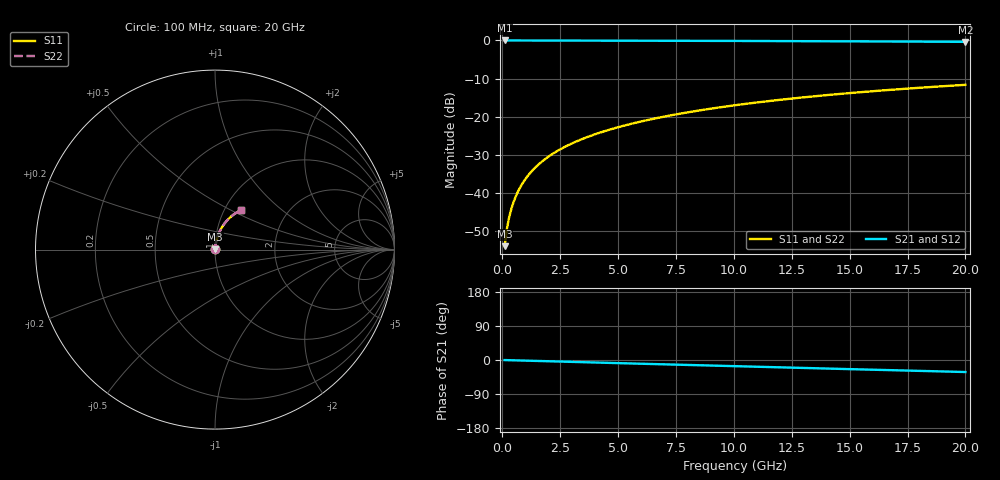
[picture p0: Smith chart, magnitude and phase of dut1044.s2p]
! Touchstone file exported from HFSS 2026.1.0
!  File:  C:/ffzhzh/LocalFiles/Ansys_Project_Files/temp_train_TMRDL_1044_1783160268_43440.aedt
!  Generated:  06:19:08 PM Jul  4, 2026
!  Design:  TMRDL
!  Project:  temp_train_TMRDL_1044_1783160268_43440
! Variables:
!  h_bsmrdl = 2um
!  h_ox = 20um
!  h_rdl = 5um
!  h_sub = 80um
!  h_tmrdl = 5.89um
!  h_tsv = 80um
!  h_via = 3um
!  l_bsmrdl = 300um
!  l_sub = 865.84um
!  l_tmrdl = 465.84um
!  m_sub = 200um
!  pitch = 56.6um
!  r_tsv = 6um
!  s_tmrdl = 10um
!  w_bsmrdl = 18um
!  w_sub = 500um
!  w_tmrdl = 29.58um
!  x_tsv_center1 = 480.63um
!  x_tsv_center2 = 798.63um
!  x_tsv_center3 = 1294.05um
!  x_tsv_center4 = 1612.05um
!  x_tsv_center5 = 2107.47um
!  x_tsv_center6 = 2425.47um
# GHz S MA R 50.000000
! Terminal data exported
! Port[1] = TM_RDL1_1_T1
! Port[2] = TM_RDL1_1_T2
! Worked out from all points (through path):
!   200 points, 100 MHz to 20 GHz, reference 50 ohm
!   highest |S21| = -0.01 dB at 100 MHz (marker M1); lowest = -0.4 dB at 20 GHz (marker M2)
!   group delay of S21, straight-line fit = 4.4 ps
!   lowest |S11| = -53.9 dB at 100 MHz (marker M3), VSWR 1.00, Z = 50.1 + j0.165 ohm
!   |S11| at or under -10 dB: start of sweep to end of sweep
!   |S22| runs from -53.9 to -11.6 dB; largest |S21 - S12| = 2.1e-15
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0.1  0.002008 55.2  0.9989 -0.2  0.9989 -0.2  0.002008 55.2
! Gamma 0 0 0 0
! Port Impedance 50 0 50 0
0.2  0.003419 68.3  0.9987 -0.3  0.9987 -0.3  0.003419 68.3
0.3  0.004859 73.9  0.9987 -0.5  0.9987 -0.5  0.004859 73.9
0.4  0.006321 77.0  0.9986 -0.7  0.9986 -0.7  0.006321 77.0
0.5  0.007797 78.9  0.9986 -0.8  0.9986 -0.8  0.007797 78.9
0.7  0.01077 81.1  0.9985 -1.2  0.9985 -1.2  0.01077 81.1
0.8  0.01227 81.7  0.9984 -1.3  0.9984 -1.3  0.01227 81.7
1  0.01525 82.4  0.9983 -1.7  0.9983 -1.7  0.01525 82.4
1.2  0.01824 82.8  0.9982 -2.0  0.9982 -2.0  0.01824 82.8
1.4  0.02121 82.9  0.998 -2.4  0.998 -2.4  0.02121 82.9
1.7  0.02565 82.9  0.9978 -2.9  0.9978 -2.9  0.02565 82.9
2  0.03006 82.7  0.9975 -3.3  0.9975 -3.3  0.03006 82.7
2.7  0.04023 81.9  0.9967 -4.5  0.9967 -4.5  0.04023 81.9
3.5  0.05169 80.9  0.9957 -5.8  0.9957 -5.8  0.05169 80.9
4.2  0.06159 80.0  0.9948 -7.0  0.9948 -7.0  0.06159 80.0
5  0.0728 78.9  0.9937 -8.2  0.9937 -8.2  0.0728 78.9
6.8  0.09767 76.3  0.9909 -11.2  0.9909 -11.2  0.09767 76.3
8.3  0.118 74.1  0.9882 -13.6  0.9882 -13.6  0.118 74.1
10.1  0.142 71.5  0.9846 -16.4  0.9846 -16.4  0.142 71.5
13.4  0.1843 66.5  0.9769 -21.6  0.9769 -21.6  0.1843 66.5
16.7  0.2243 61.6  0.9679 -26.7  0.9679 -26.7  0.2243 61.6
20  0.2617 56.7  0.9581 -31.7  0.9581 -31.7  0.2617 56.8
